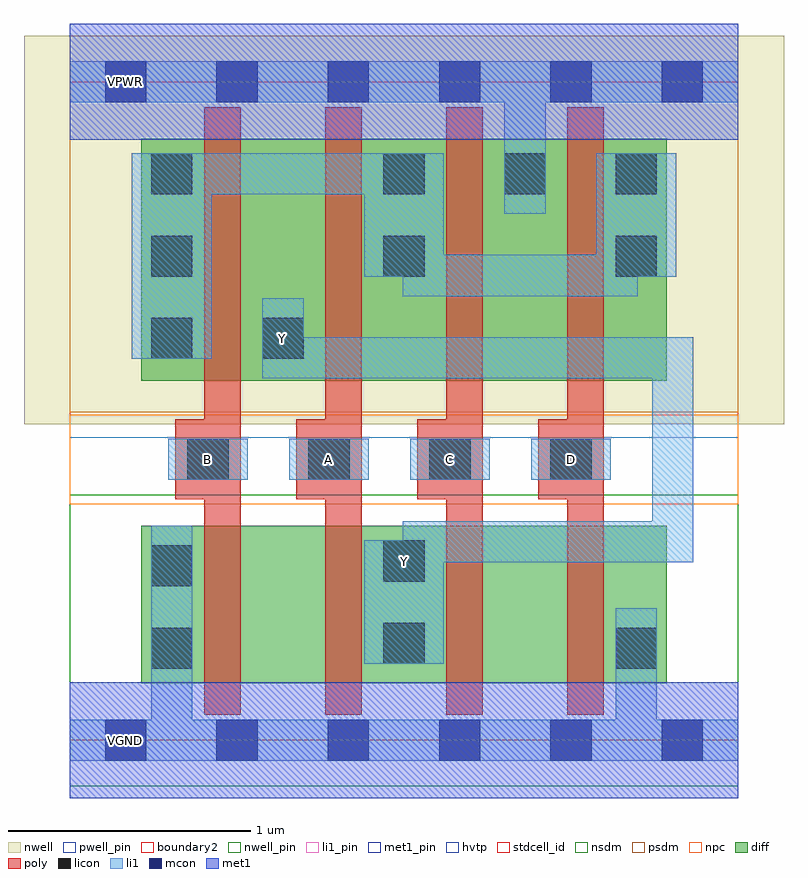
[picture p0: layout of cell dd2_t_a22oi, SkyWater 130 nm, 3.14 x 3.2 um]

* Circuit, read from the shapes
.subckt dd2_t_a22oi A B C D VGND VNB VPB VPWR Y
XM1 n1 B VGND VNB sky130_fd_pr__nfet_01v8 w=0.65 l=0.15
XM2 Y A n1 VNB sky130_fd_pr__nfet_01v8 w=0.65 l=0.15
XM3 n2 C Y VNB sky130_fd_pr__nfet_01v8 w=0.65 l=0.15
XM4 VGND D n2 VNB sky130_fd_pr__nfet_01v8 w=0.65 l=0.15
XM5 Y B n3 VPB sky130_fd_pr__pfet_01v8_hvt w=1 l=0.15
XM6 n3 A Y VPB sky130_fd_pr__pfet_01v8_hvt w=1 l=0.15
XM7 VPWR C n3 VPB sky130_fd_pr__pfet_01v8_hvt w=1 l=0.15
XM8 n3 D VPWR VPB sky130_fd_pr__pfet_01v8_hvt w=1 l=0.15
.ends

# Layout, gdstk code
import gdstk
lib = gdstk.Library(unit=1e-6, precision=1e-09)
def R(c, l, rs):  # rectangles x0, y0, x1, y1
    for r in rs: c.add(gdstk.rectangle(r[:2], r[2:], *l))
def A(c, l, x, y, w, h, nx, ny, dx, dy):  # array of equal rectangles
    R(c, l, [(x+i*dx, y+j*dy, x+i*dx+w, y+j*dy+h) for i in range(nx) for j in range(ny)])
nwell_pin = (64, 16)
nwell = (64, 20)
diff = (65, 20)
poly = (66, 20)
licon = (66, 44)
li1_pin = (67, 16)
li1 = (67, 20)
mcon = (67, 44)
met1_pin = (68, 16)
met1 = (68, 20)
hvtp = (78, 44)
stdcell_id = (81, 4)
nsdm = (93, 44)
psdm = (94, 20)
npc = (95, 20)
pwell_pin = (122, 16)
boundary2 = (236, 0)

dd2_t_a22oi = lib.new_cell('dd2_t_a22oi')
R(dd2_t_a22oi, nwell_pin, [(0.145,2.635,0.315,2.805)])
R(dd2_t_a22oi, nwell, [(-0.19,1.305,2.95,2.91)])
R(dd2_t_a22oi, diff, [(0.295,0.235,0.88,0.885), (0.88,0.235,1.38,0.885), (1.38,0.235,1.88,0.885), (1.88,0.235,2.465,0.885), (0.295,1.485,0.88,2.485), (0.88,1.485,1.38,2.485), (1.38,1.485,1.88,2.485), (1.88,1.485,2.465,2.485)])
A(dd2_t_a22oi, poly, 0.555, 0.105, 0.15, 2.51, 4, 1, 0.5, 0)
A(dd2_t_a22oi, poly, 0.435, 0.995, 0.27, 0.33, 4, 1, 0.5, 0)
A(dd2_t_a22oi, licon, 0.485, 1.075, 0.17, 0.17, 4, 1, 0.5, 0)
A(dd2_t_a22oi, licon, 0.335, 1.915, 0.17, 0.17, 3, 1, 0.96, 0)
R(dd2_t_a22oi, licon, [(0.335,0.295,0.505,0.465), (2.255,0.295,2.425,0.465), (1.295,0.315,1.465,0.485), (0.335,0.635,0.505,0.805), (1.295,0.655,1.465,0.825), (0.335,1.575,0.505,1.745), (0.795,1.575,0.965,1.745), (0.335,2.255,0.505,2.425), (1.295,2.255,1.465,2.425), (1.795,2.255,1.965,2.425), (2.255,2.255,2.425,2.425)])
A(dd2_t_a22oi, li1_pin, 0.485, 1.075, 0.17, 0.17, 4, 1, 0.5, 0)
R(dd2_t_a22oi, li1_pin, [(1.295,0.655,1.465,0.825), (0.795,1.575,0.965,1.745)])
A(dd2_t_a22oi, li1, 0.405, 1.075, 0.33, 0.17, 4, 1, 0.5, 0)
A(dd2_t_a22oi, li1, 0.255, 1.915, 0.33, 0.51, 3, 1, 0.96, 0)
A(dd2_t_a22oi, li1, 0.255, 2.255, 0.33, 0.17, 3, 1, 0.96, 0)
R(dd2_t_a22oi, li1, [(0,-0.085,2.76,0.085), (0.335,-0.085,0.505,0.545), (2.255,-0.085,2.425,0.545), (0.335,0.295,0.505,0.885), (1.215,0.315,1.545,0.825), (1.215,0.655,1.545,0.825), (1.375,0.655,1.545,0.905), (1.375,0.735,2.575,0.905), (2.405,0.735,2.575,1.665), (0.795,1.495,0.965,1.825), (0.795,1.495,2.575,1.665), (0.255,1.575,0.585,2.085), (1.375,1.835,2.345,2.005), (1.375,1.835,1.545,2.425), (2.175,1.835,2.345,2.425), (1.795,2.175,1.965,2.805), (0.415,2.255,1.385,2.425), (0,2.635,2.76,2.805)])
A(dd2_t_a22oi, mcon, 0.145, -0.085, 0.17, 0.17, 6, 2, 0.46, 2.72)
R(dd2_t_a22oi, met1_pin, [(0.145,-0.085,0.315,0.085), (0.145,2.635,0.315,2.805)])
R(dd2_t_a22oi, met1, [(0,-0.24,2.76,0.24), (0,2.48,2.76,2.96)])
R(dd2_t_a22oi, hvtp, [(0,1.25,2.76,2.72)])
R(dd2_t_a22oi, stdcell_id, [(0,0,2.76,2.72)])
R(dd2_t_a22oi, nsdm, [(0,-0.19,2.76,1.015)])
R(dd2_t_a22oi, psdm, [(0,1.355,2.76,2.91)])
R(dd2_t_a22oi, npc, [(0,0.975,2.76,1.345)])
R(dd2_t_a22oi, pwell_pin, [(0.145,-0.085,0.315,0.085)])
R(dd2_t_a22oi, boundary2, [(0,0,2.76,2.72)])
dd2_t_a22oi.add(gdstk.Label('A', (1.07,1.16), layer=67, texttype=5))
dd2_t_a22oi.add(gdstk.Label('B', (0.57,1.16), layer=67, texttype=5))
dd2_t_a22oi.add(gdstk.Label('C', (1.57,1.16), layer=67, texttype=5))
dd2_t_a22oi.add(gdstk.Label('D', (2.07,1.16), layer=67, texttype=5))
dd2_t_a22oi.add(gdstk.Label('Y', (1.38,0.74), layer=67, texttype=5))
dd2_t_a22oi.add(gdstk.Label('Y', (0.88,1.66), layer=67, texttype=5))
dd2_t_a22oi.add(gdstk.Label('VGND', (0.23,0), layer=68, texttype=5))
dd2_t_a22oi.add(gdstk.Label('VPWR', (0.23,2.72), layer=68, texttype=5))
dd2_t_a22oi.add(gdstk.Label('VPB', (0.23,2.72), layer=64, texttype=5))
dd2_t_a22oi.add(gdstk.Label('VNB', (0.23,0), layer=64, texttype=59))

lib.write_gds('dd2_t_a22oi.gds')
